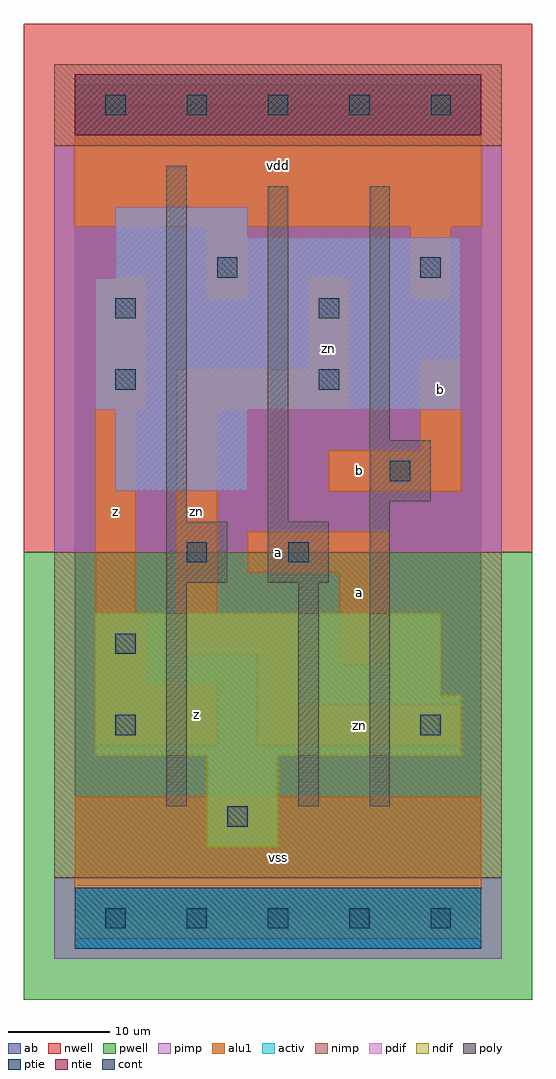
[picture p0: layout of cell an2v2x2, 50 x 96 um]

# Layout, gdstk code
import gdstk
lib = gdstk.Library(unit=1e-6, precision=1e-09)
def R(c, l, rs):  # rectangles x0, y0, x1, y1
    for r in rs: c.add(gdstk.rectangle(r[:2], r[2:], *l))
def A(c, l, x, y, w, h, nx, ny, dx, dy):  # array of equal rectangles
    R(c, l, [(x+i*dx, y+j*dy, x+i*dx+w, y+j*dy+h) for i in range(nx) for j in range(ny)])
ndif = (3, 0)
pdif = (4, 0)
ntie = (5, 0)
ptie = (6, 0)
cont = (25, 0)
pwell = (41, 0)
nwell = (42, 0)
activ = (43, 0)
pimp = (44, 0)
nimp = (45, 0)
poly = (46, 0)
alu1 = (49, 0)
ab = (63, 0)

an2v2x2 = lib.new_cell('an2v2x2')
R(an2v2x2, ndif, [(13,7,20,16), (2,16,38,22), (2,22,36,30)])
R(an2v2x2, pdif, [(4,42,17,50), (2,50,38,63), (4,63,38,67), (4,67,17,70)])
R(an2v2x2, ntie, [(0,77,40,83)])
R(an2v2x2, ptie, [(0,-3,40,3)])
A(an2v2x2, cont, 3, -1, 2, 2, 5, 2, 8, 80)
R(an2v2x2, cont, [(15,9,17,11), (4,18,6,20), (34,18,36,20), (4,26,6,28), (11,35,13,37), (21,35,23,37), (31,43,33,45), (4,52,6,54), (24,52,26,54), (4,59,6,61), (24,59,26,61), (14,63,16,65), (34,63,36,65)])
R(an2v2x2, pwell, [(-5,-8,45,36)])
R(an2v2x2, nwell, [(-5,36,45,88)])
R(an2v2x2, activ, [(0,-3,40,3), (13,7,20,16), (2,16,38,22), (2,22,36,30), (4,42,17,50), (2,50,38,63), (4,63,38,67), (4,67,17,70), (0,77,40,83)])
R(an2v2x2, pimp, [(-2,-4,42,4), (-2,36,42,76)])
R(an2v2x2, nimp, [(-2,4,42,36), (-2,76,42,84)])
R(an2v2x2, poly, [(9,11,11,33), (22,11,24,33), (29,11,31,41), (9,33,15,39), (19,33,25,39), (9,39,11,74), (19,39,21,72), (29,41,35,47), (29,47,31,72)])
R(an2v2x2, alu1, [(0,-2,40,12), (2,17,14,23), (18,17,38,21), (18,21,22,26), (2,23,7,30), (26,25,31,34), (10,26,22,30), (2,30,6,50), (10,30,14,50), (17,34,31,38), (25,42,38,46), (34,46,38,55), (2,50,7,63), (10,50,27,54), (23,54,27,63), (13,61,17,68), (33,61,37,68), (0,68,40,82)])
R(an2v2x2, ab, [(0,0,40,80)])
an2v2x2.add(gdstk.Label('zn', (12,40), layer=49, texttype=0))
an2v2x2.add(gdstk.Label('zn', (25,56), layer=49, texttype=0))
an2v2x2.add(gdstk.Label('zn', (28,19), layer=49, texttype=0))
an2v2x2.add(gdstk.Label('z', (4,40), layer=49, texttype=0))
an2v2x2.add(gdstk.Label('z', (12,20), layer=49, texttype=0))
an2v2x2.add(gdstk.Label('vss', (20,6), layer=49, texttype=0))
an2v2x2.add(gdstk.Label('a', (20,36), layer=49, texttype=0))
an2v2x2.add(gdstk.Label('a', (28,32), layer=49, texttype=0))
an2v2x2.add(gdstk.Label('b', (28,44), layer=49, texttype=0))
an2v2x2.add(gdstk.Label('vdd', (20,74), layer=49, texttype=0))
an2v2x2.add(gdstk.Label('b', (36,52), layer=49, texttype=0))

lib.write_gds('an2v2x2.gds')
